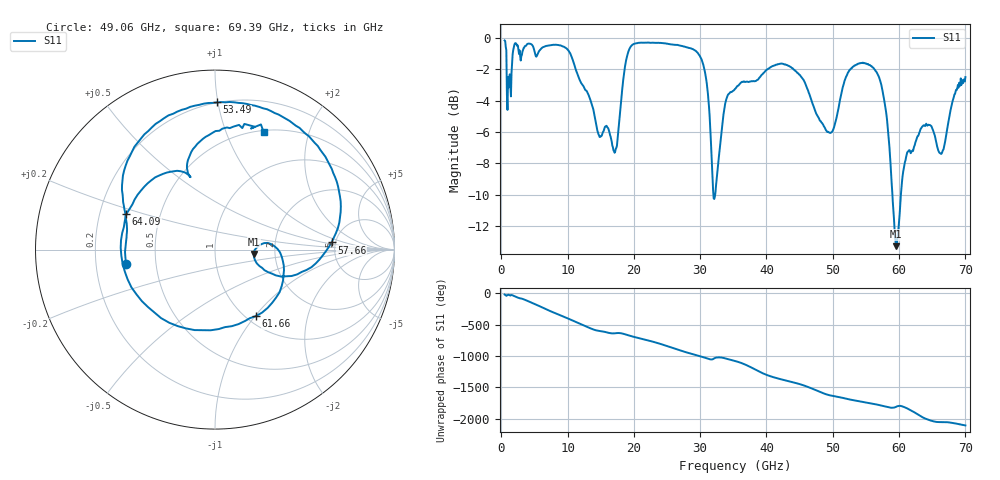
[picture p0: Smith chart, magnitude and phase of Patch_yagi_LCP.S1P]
!  1-Port S-parameters saved by WinCal
! VAR MeasName=S-Parameters (CALIBRATED_DATA) read from VNA (N5227B)
! VAR MeasDate=10/18/2022 10:11:34 AM
! VAR NAME=Patch_yagi_LCP
! VAR FILENAME=Patch_yagi_LCP.S1P
! VAR DATE=10/18/2022 10:11:34 AM
! VAR PHYS_PORTS=1
! VAR ObjTypeName=DATASET
! VAR IndexType=Frequency
# Hz S DB R 50
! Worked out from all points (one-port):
!   801 points, 500 MHz to 70 GHz, reference 50 ohm
!   lowest |S11| = -13.3 dB at 59.58 GHz (marker M1), VSWR 1.55, Z = 77.3 - j3.91 ohm
!   |S11| at or under -10 dB: 31.99 GHz to 32.26 GHz (264.3 MHz wide, 0.823 % of centre); 58.99 GHz to 60.27 GHz (1.283 GHz wide, 2.15 % of centre)
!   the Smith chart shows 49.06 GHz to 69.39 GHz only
!   S11 on the Smith chart (normalised r, x): 49.06 GHz: 0.33, -0.07; 53.49 GHz: 0.20, +0.99; 57.66 GHz: 4.63, +0.64; 61.66 GHz: 1.11, -1.01; 64.09 GHz: 0.32, +0.17; 69.39 GHz: 0.52, +1.36
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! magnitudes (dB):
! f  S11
! 500 MHz  -0.2
! 1.195 GHz  -2.6
! 2.151 GHz  -0.3
! 9.188 GHz  -0.5
! 14.83 GHz  -6.3
! 17.09 GHz  -7.3
! 17.88 GHz  -5.0
! 18.74 GHz  -1.6
! 19.61 GHz  -0.5
! 26.56 GHz  -0.4
! 30.47 GHz  -1.7
! 31.17 GHz  -3.6
! 32.21 GHz  -10.1
! 33.77 GHz  -4.2
! 35.25 GHz  -3.3
! 43.94 GHz  -1.9
! 49.06 GHz  -5.9
! 52.62 GHz  -2.0
! 53.49 GHz  -1.7
! 56.19 GHz  -2.0
! 57.66 GHz  -3.7
! 59.58 GHz  -13.3
! 61.31 GHz  -7.3
! 61.66 GHz  -7.2
! 64.09 GHz  -5.5
! 66.44 GHz  -7.4
! 69.39 GHz  -3.0
! 70 GHz  -2.5
